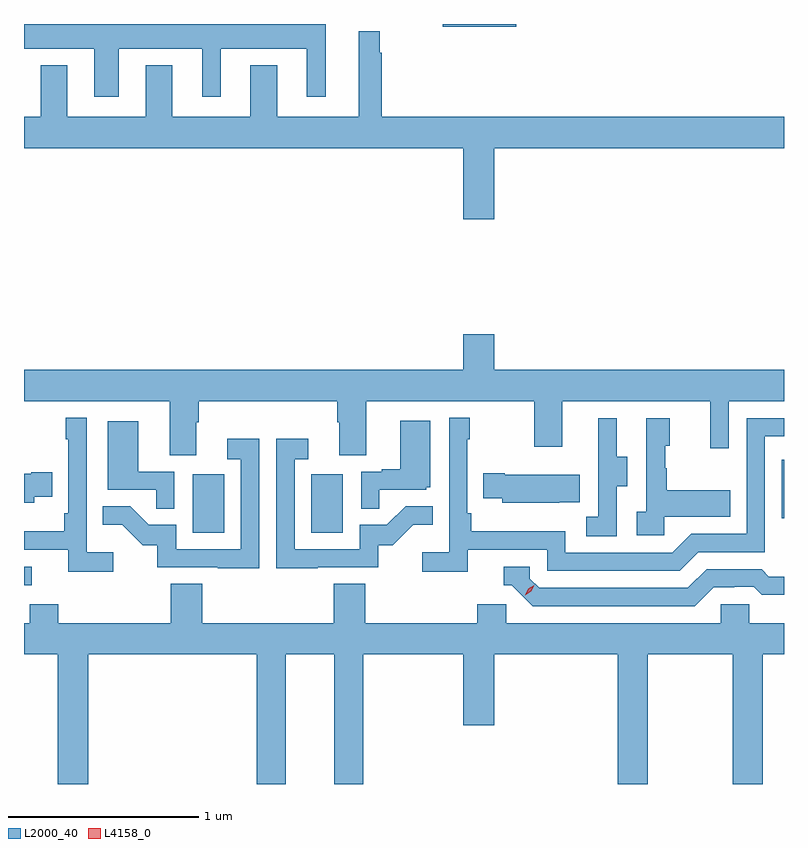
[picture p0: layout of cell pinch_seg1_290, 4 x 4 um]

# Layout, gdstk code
import gdstk
lib = gdstk.Library(unit=1e-6, precision=1e-09)
def R(c, l, rs):  # rectangles x0, y0, x1, y1
    for r in rs: c.add(gdstk.rectangle(r[:2], r[2:], *l))
def P(c, l, *ps):  # polygons
    for p in ps: c.add(gdstk.Polygon(p, *l))
L2000_40 = (2000, 40)
L4158_0 = (4158, 0)

pinch_seg1_290 = lib.new_cell('pinch_seg1_290')
R(pinch_seg1_290, L2000_40, [(941.917,554.76,941.959,554.856), (942.806,555.036,942.97,555.343), (943.43,555.036,943.594,555.343), (945.906,555.111,945.917,555.42), (944.12,557.698,944.509,557.713)])
P(pinch_seg1_290, L2000_40, [(942.415,557.582),(942.854,557.582),(942.854,557.331),(942.952,557.331),(942.952,557.582),(943.406,557.582),(943.406,557.331),(943.504,557.331),(943.504,557.713),(941.917,557.713),(941.917,557.582),(942.287,557.582),(942.287,557.331),(942.415,557.331)],
  [(944.392,557.06),(945.917,557.06),(945.917,557.224),(943.801,557.224),(943.801,557.561),(943.79,557.561),(943.79,557.674),(943.679,557.674),(943.679,557.224),(943.249,557.224),(943.249,557.497),(943.109,557.497),(943.109,557.224),(942.697,557.224),(942.697,557.497),(942.557,557.497),(942.557,557.224),(942.145,557.224),(942.145,557.497),(942.005,557.497),(942.005,557.224),(941.917,557.224),(941.917,557.06),(944.228,557.06),(944.228,556.686),(944.392,556.686)],
  [(942.823,555.616),(942.836,555.616),(942.836,555.728),(943.565,555.728),(943.565,555.616),(943.577,555.616),(943.577,555.442),(943.717,555.442),(943.717,555.728),(944.602,555.728),(944.602,555.489),(944.749,555.489),(944.749,555.728),(945.53,555.728),(945.53,555.48),(945.627,555.48),(945.627,555.728),(945.917,555.728),(945.917,555.892),(944.392,555.892),(944.392,556.081),(944.228,556.081),(944.228,555.892),(941.917,555.892),(941.917,555.728),(942.683,555.728),(942.683,555.442),(942.823,555.442)],
  [(942.388,554.932),(942.246,554.932),(942.246,555.64),(942.138,555.64),(942.138,555.527),(942.15,555.527),(942.15,555.139),(942.13,555.139),(942.13,555.043),(941.917,555.043),(941.917,554.946),(942.149,554.946),(942.149,554.83),(942.388,554.83)],
  [(944.252,554.946),(944.67,554.946),(944.67,554.835),(945.367,554.835),(945.466,554.934),(945.816,554.934),(945.816,555.543),(945.917,555.543),(945.917,555.639),(945.72,555.639),(945.72,555.03),(945.429,555.03),(945.33,554.931),(944.766,554.931),(944.766,555.043),(944.27,555.043),(944.27,555.139),(944.25,555.139),(944.25,555.527),(944.263,555.527),(944.263,555.64),(944.154,555.64),(944.154,554.932),(944.013,554.932),(944.013,554.83),(944.252,554.83)],
  [(945.036,555.28),(945.091,555.28),(945.091,555.435),(945.037,555.435),(945.037,555.637),(944.939,555.637),(944.939,555.423),(944.94,555.423),(944.94,555.119),(944.877,555.119),(944.877,555.016),(945.036,555.016)],
  [(945.288,555.119),(945.635,555.119),(945.635,555.259),(945.301,555.259),(945.301,555.374),(945.291,555.374),(945.291,555.492),(945.316,555.492),(945.316,555.637),(945.192,555.637),(945.192,555.146),(945.141,555.146),(945.141,555.021),(945.288,555.021)],
  [(943.787,555.261),(944.034,555.261),(944.034,555.276),(944.056,555.276),(944.056,555.625),(943.898,555.625),(943.898,555.37),(943.799,555.37),(943.799,555.357),(943.692,555.357),(943.692,555.163),(943.787,555.163)],
  [(942.708,555.357),(942.517,555.357),(942.517,555.622),(942.359,555.622),(942.359,555.261),(942.613,555.261),(942.613,555.163),(942.708,555.163)],
  [(943.463,554.853),(943.782,554.853),(943.782,554.97),(943.858,554.97),(943.965,555.077),(944.069,555.077),(944.069,555.176),(943.925,555.176),(943.827,555.078),(943.683,555.078),(943.683,554.949),(943.341,554.949),(943.341,555.423),(943.414,555.423),(943.414,555.529),(943.245,555.529),(943.245,554.848),(943.463,554.848)],
  [(943.155,555.529),(942.987,555.529),(942.987,555.423),(943.059,555.423),(943.059,554.949),(942.717,554.949),(942.717,555.078),(942.573,555.078),(942.475,555.176),(942.331,555.176),(942.331,555.077),(942.435,555.077),(942.542,554.97),(942.619,554.97),(942.619,554.853),(942.937,554.853),(942.937,554.848),(943.155,554.848)],
  [(941.971,555.224),(942.065,555.224),(942.065,555.354),(941.954,555.354),(941.954,555.346),(941.917,555.346),(941.917,555.194),(941.971,555.194)],
  [(944.735,555.197),(944.843,555.197),(944.843,555.34),(944.446,555.34),(944.446,555.348),(944.335,555.348),(944.335,555.218),(944.433,555.218),(944.433,555.194),(944.735,555.194)],
  [(945.547,554.748),(945.654,554.748),(945.654,554.751),(945.757,554.751),(945.799,554.709),(945.917,554.709),(945.917,554.805),(945.838,554.805),(945.799,554.844),(945.51,554.844),(945.411,554.745),(944.628,554.745),(944.58,554.793),(944.58,554.856),(944.441,554.856),(944.441,554.76),(944.484,554.76),(944.595,554.649),(945.448,554.649)],
  [(942.254,554.396),(943.142,554.396),(943.142,553.713),(943.294,553.713),(943.294,554.396),(943.55,554.396),(943.55,553.713),(943.703,553.713),(943.703,554.396),(944.228,554.396),(944.228,554.022),(944.392,554.022),(944.392,554.396),(945.041,554.396),(945.041,553.713),(945.201,553.713),(945.201,554.396),(945.646,554.396),(945.646,553.713),(945.806,553.713),(945.806,554.396),(945.917,554.396),(945.917,554.56),(945.735,554.56),(945.735,554.658),(945.585,554.658),(945.585,554.56),(944.454,554.56),(944.454,554.658),(944.303,554.658),(944.303,554.56),(943.712,554.56),(943.712,554.768),(943.547,554.768),(943.547,554.56),(942.854,554.56),(942.854,554.768),(942.689,554.768),(942.689,554.56),(942.098,554.56),(942.098,554.658),(941.946,554.658),(941.946,554.56),(941.917,554.56),(941.917,554.396),(942.094,554.396),(942.094,553.713),(942.254,553.713)])
P(pinch_seg1_290, L4158_0, [(944.556,554.707),(944.556,554.708),(944.572,554.74),(944.603,554.76),(944.603,554.76),(944.603,554.76),(944.587,554.727),(944.556,554.707)])

lib.write_gds('pinch_seg1_290.gds')
